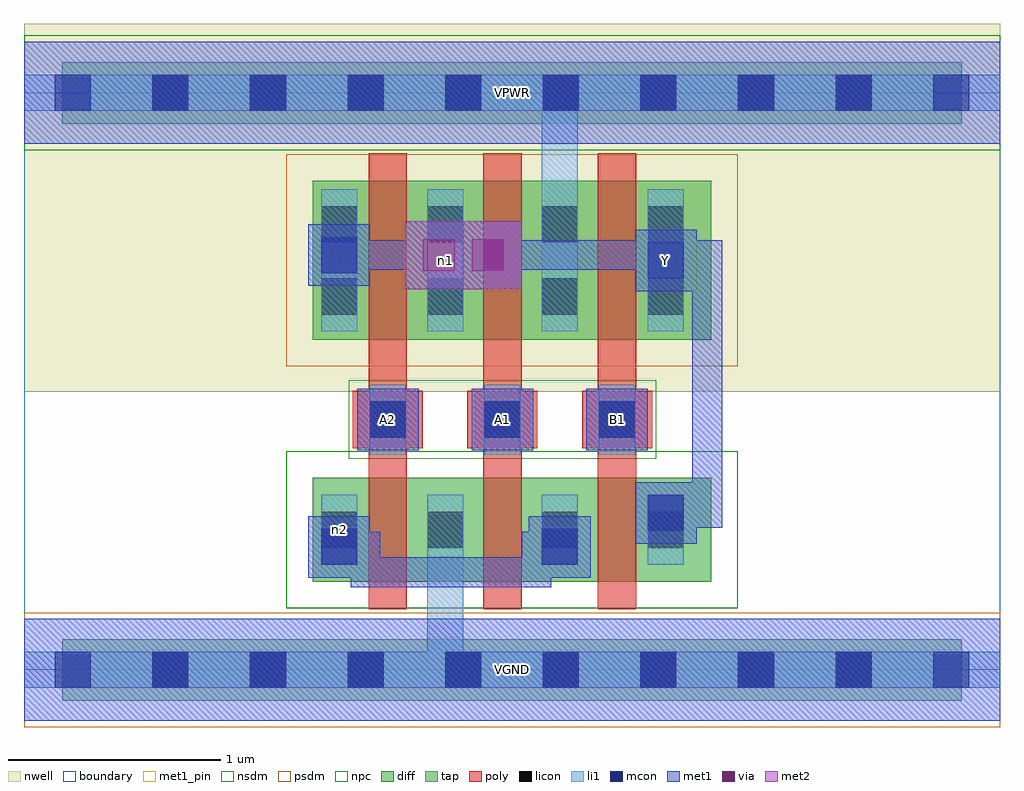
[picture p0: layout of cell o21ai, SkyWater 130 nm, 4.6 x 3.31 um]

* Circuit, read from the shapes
.subckt o21ai A1 A2 B1 VGND VPWR Y n1 n2
XM1 VGND A2 n2 VGND sky130_fd_pr__nfet_01v8 w=0.49 l=0.18
XM2 n2 A1 VGND VGND sky130_fd_pr__nfet_01v8 w=0.49 l=0.18
XM3 Y B1 n2 VGND sky130_fd_pr__nfet_01v8 w=0.49 l=0.18
XM4 n1 A2 Y VPWR sky130_fd_pr__pfet_01v8 w=0.75 l=0.18
XM5 VPWR A1 n1 VPWR sky130_fd_pr__pfet_01v8 w=0.75 l=0.18
XM6 Y B1 VPWR VPWR sky130_fd_pr__pfet_01v8 w=0.75 l=0.18
.ends

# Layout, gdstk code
import gdstk
lib = gdstk.Library(unit=1e-6, precision=1e-09)
def R(c, l, rs):  # rectangles x0, y0, x1, y1
    for r in rs: c.add(gdstk.rectangle(r[:2], r[2:], *l))
def A(c, l, x, y, w, h, nx, ny, dx, dy):  # array of equal rectangles
    R(c, l, [(x+i*dx, y+j*dy, x+i*dx+w, y+j*dy+h) for i in range(nx) for j in range(ny)])
nwell = (64, 20)
diff = (65, 20)
tap = (65, 44)
poly = (66, 20)
licon = (66, 44)
li1 = (67, 20)
mcon = (67, 44)
met1_pin = (68, 16)
met1 = (68, 20)
via = (68, 44)
met2 = (69, 20)
nsdm = (93, 44)
psdm = (94, 20)
npc = (95, 20)
boundary = (235, 4)

o21ai = lib.new_cell('o21ai')
R(o21ai, nwell, [(0,1.31,4.6,3.045)])
R(o21ai, diff, [(1.36,0.415,3.24,0.905), (1.36,1.555,3.24,2.305)])
R(o21ai, tap, [(0.18,-0.145,4.42,0.145), (0.18,2.575,4.42,2.865)])
A(o21ai, poly, 1.625, 0.285, 0.18, 2.15, 3, 1, 0.54, 0)
A(o21ai, poly, 1.55, 1.045, 0.33, 0.27, 3, 1, 0.54, 0)
A(o21ai, licon, 0.605, -0.085, 0.17, 0.17, 8, 2, 0.46, 2.72)
A(o21ai, licon, 1.63, 1.095, 0.17, 0.17, 3, 1, 0.54, 0)
R(o21ai, licon, [(1.4,0.575,1.57,0.745), (1.9,0.575,2.07,0.745), (2.44,0.575,2.61,0.745), (2.94,0.575,3.11,0.745), (1.4,1.675,1.57,1.845), (1.9,1.675,2.07,1.845), (2.44,1.675,2.61,1.845), (2.94,1.675,3.11,1.845), (1.4,2.015,1.57,2.185), (1.9,2.015,2.07,2.185), (2.44,2.015,2.61,2.185), (2.94,2.015,3.11,2.185)])
A(o21ai, li1, 1.63, 1.015, 0.17, 0.33, 3, 1, 0.54, 0)
R(o21ai, li1, [(0,-0.085,4.6,0.085), (1.9,-0.085,2.07,0.825), (1.4,0.495,1.57,0.825), (1.9,0.495,2.07,0.825), (2.44,0.495,2.61,0.825), (2.94,0.495,3.11,0.825), (1.4,1.595,1.57,2.265), (1.9,1.595,2.07,2.265), (2.44,1.595,2.61,2.265), (2.44,1.595,2.61,2.805), (2.94,1.595,3.11,2.265), (0,2.635,4.6,2.805)])
A(o21ai, mcon, 0.145, -0.085, 0.17, 0.17, 10, 2, 0.46, 2.72)
A(o21ai, mcon, 1.63, 1.095, 0.17, 0.17, 3, 1, 0.54, 0)
R(o21ai, mcon, [(1.4,0.495,1.57,0.665), (2.44,0.495,2.61,0.665), (2.94,0.655,3.11,0.825), (2.94,1.845,3.11,2.015), (1.4,1.87,1.57,2.04)])
A(o21ai, met1_pin, 1.57, 1.035, 0.29, 0.29, 3, 1, 0.54, 0)
R(o21ai, met1_pin, [(0,-0.24,4.6,0.24), (2.88,1.785,3.17,2.075), (0,2.48,4.6,2.96)])
A(o21ai, met1, 1.57, 1.035, 0.29, 0.29, 3, 1, 0.54, 0)
R(o21ai, met1, [(0,-0.24,4.6,0.24), (1.54,0.39,1.68,0.65), (1.54,0.39,2.485,0.53), (2.345,0.39,2.485,0.65), (1.34,0.435,1.63,0.725), (2.38,0.435,2.67,0.725), (1.415,0.51,1.68,0.65), (2.345,0.51,2.595,0.65), (2.88,0.595,3.17,0.885), (2.955,0.67,3.29,0.81), (3.15,0.67,3.29,0.99), (3.15,0.85,3.29,2.025), (2.88,1.785,3.17,2.075), (1.795,1.795,2.115,2.115), (2.025,1.795,2.345,2.115), (1.34,1.81,1.63,2.1), (1.415,1.885,1.68,2.025), (1.54,1.885,2.025,2.025), (2.115,1.885,3.06,2.025), (2.92,1.885,3.06,2.025), (2.92,1.885,3.29,2.025), (0,2.48,4.6,2.96)])
R(o21ai, via, [(1.88,1.88,2.03,2.03), (2.11,1.88,2.26,2.03)])
R(o21ai, met2, [(1.795,1.795,2.115,2.115), (2.025,1.795,2.345,2.115), (1.885,1.885,2.255,2.025)])
R(o21ai, nsdm, [(1.235,0.29,3.365,1.03), (0,2.45,4.6,2.99)])
R(o21ai, psdm, [(0,-0.27,4.6,0.27), (1.235,1.43,3.365,2.43)])
R(o21ai, npc, [(1.53,0.995,2.98,1.365)])
R(o21ai, boundary, [(0,0,4.6,2.72)])
o21ai.add(gdstk.Label('n2', (1.485,0.66), layer=67, texttype=5))
o21ai.add(gdstk.Label('n1', (1.985,1.93), layer=67, texttype=5))
o21ai.add(gdstk.Label('A1', (2.255,1.18), layer=68, texttype=5))
o21ai.add(gdstk.Label('A2', (1.715,1.18), layer=68, texttype=5))
o21ai.add(gdstk.Label('B1', (2.795,1.18), layer=68, texttype=5))
o21ai.add(gdstk.Label('Y', (3.025,1.93), layer=68, texttype=5))
o21ai.add(gdstk.Label('VPWR', (2.3,2.72), layer=68, texttype=5))
o21ai.add(gdstk.Label('VGND', (2.3,0), layer=68, texttype=5))
o21ai.add(gdstk.Label('A1', (2.255,1.18), layer=68, texttype=16))
o21ai.add(gdstk.Label('A2', (1.715,1.18), layer=68, texttype=16))
o21ai.add(gdstk.Label('B1', (2.795,1.18), layer=68, texttype=16))
o21ai.add(gdstk.Label('Y', (3.025,1.93), layer=68, texttype=16))
o21ai.add(gdstk.Label('VPWR', (2.3,2.72), layer=68, texttype=16))
o21ai.add(gdstk.Label('VGND', (2.3,0), layer=68, texttype=16))

lib.write_gds('o21ai.gds')
